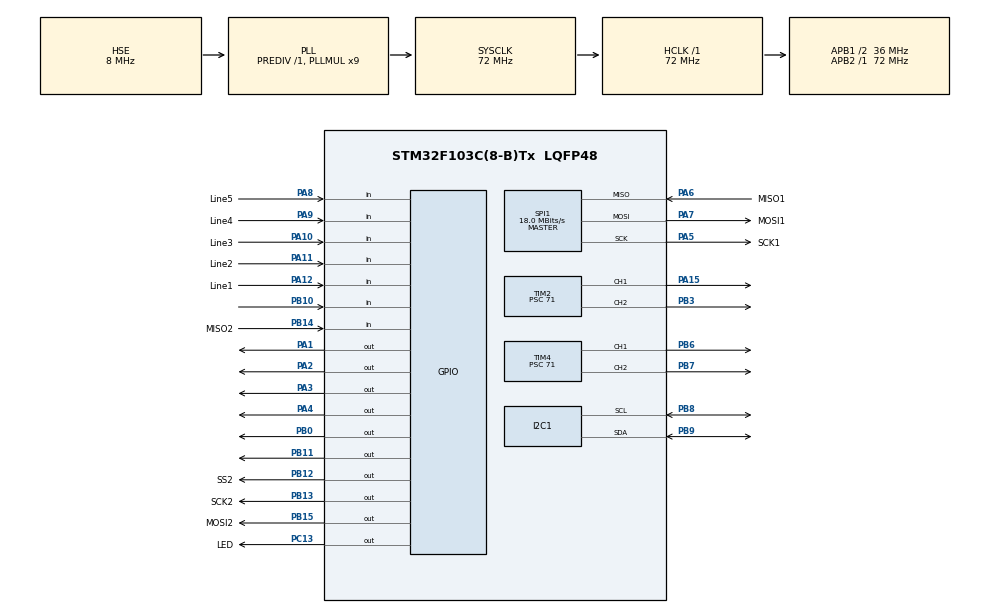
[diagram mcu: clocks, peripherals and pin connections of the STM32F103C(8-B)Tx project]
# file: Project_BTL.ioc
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Mcu.Family=STM32F1
Mcu.Name=STM32F103C(8-B)Tx
Mcu.Package=LQFP48
NVIC.PriorityGroup=NVIC_PRIORITYGROUP_4
PA1.Signal=GPIO_Output
PA10.GPIO_Label=Line3
PA10.Signal=GPIO_Input
PA11.GPIO_Label=Line2
PA11.Signal=GPIO_Input
PA12.GPIO_Label=Line1
PA12.Signal=GPIO_Input
PA13.Mode=Serial_Wire
PA13.Signal=SYS_JTMS-SWDIO
PA14.Mode=Serial_Wire
PA14.Signal=SYS_JTCK-SWCLK
PA15.Signal=S_TIM2_CH1_ETR
PA2.Signal=GPIO_Output
PA3.Signal=GPIO_Output
PA4.Signal=GPIO_Output
PA5.GPIO_Label=SCK1
PA5.Mode=Full_Duplex_Master
PA5.Signal=SPI1_SCK
PA6.GPIO_Label=MISO1
PA6.Mode=Full_Duplex_Master
PA6.Signal=SPI1_MISO
PA7.GPIO_Label=MOSI1
PA7.Mode=Full_Duplex_Master
PA7.Signal=SPI1_MOSI
PA8.GPIO_Label=Line5
PA8.Signal=GPIO_Input
PA9.GPIO_Label=Line4
PA9.Signal=GPIO_Input
PB0.Signal=GPIO_Output
PB10.Signal=GPIO_Input
PB11.Signal=GPIO_Output
PB12.GPIO_Label=SS2
PB12.PinState=GPIO_PIN_SET
PB12.Signal=GPIO_Output
PB13.GPIO_Label=SCK2
PB13.PinState=GPIO_PIN_SET
PB13.Signal=GPIO_Output
PB14.GPIO_Label=MISO2
PB14.Signal=GPIO_Input
PB15.GPIO_Label=MOSI2
PB15.PinState=GPIO_PIN_SET
PB15.Signal=GPIO_Output
PB3.Signal=S_TIM2_CH2
PB6.Signal=S_TIM4_CH1
PB7.Signal=S_TIM4_CH2
PB8.Mode=I2C
PB8.Signal=I2C1_SCL
PB9.Mode=I2C
PB9.Signal=I2C1_SDA
PC13-TAMPER-RTC.GPIO_Label=LED
PC13-TAMPER-RTC.PinState=GPIO_PIN_SET
PC13-TAMPER-RTC.Signal=GPIO_Output
PD0-OSC_IN.Mode=HSE-External-Oscillator
PD0-OSC_IN.Signal=RCC_OSC_IN
PD1-OSC_OUT.Mode=HSE-External-Oscillator
PD1-OSC_OUT.Signal=RCC_OSC_OUT
ProjectManager.HeapSize=0x200
ProjectManager.StackSize=0x400
ProjectManager.TargetToolchain=MDK-ARM V5
RCC.AHBFreq_Value=72000000
RCC.APB1CLKDivider=RCC_HCLK_DIV2
RCC.APB1Freq_Value=36000000
RCC.APB1TimFreq_Value=72000000
RCC.APB2Freq_Value=72000000
RCC.APB2TimFreq_Value=72000000
RCC.HCLKFreq_Value=72000000
RCC.PLLMUL=RCC_PLL_MUL9
RCC.PLLSourceVirtual=RCC_PLLSOURCE_HSE
RCC.SYSCLKFreq_VALUE=72000000
RCC.SYSCLKSource=RCC_SYSCLKSOURCE_PLLCLK
RCC.USBFreq_Value=72000000
SH.S_TIM2_CH1_ETR.0=TIM2_CH1,PWM Generation1 CH1
SH.S_TIM2_CH2.0=TIM2_CH2,PWM Generation2 CH2
SH.S_TIM4_CH1.0=TIM4_CH1,PWM Generation1 CH1
SH.S_TIM4_CH2.0=TIM4_CH2,PWM Generation2 CH2
SPI1.BaudRatePrescaler=SPI_BAUDRATEPRESCALER_4
SPI1.CalculateBaudRate=18.0 MBits/s
SPI1.Direction=SPI_DIRECTION_2LINES
SPI1.Mode=SPI_MODE_MASTER
SPI1.VirtualType=VM_MASTER
TIM1.Period=999
TIM1.Prescaler=71
TIM2.Channel-PWM\ Generation1\ CH1=TIM_CHANNEL_1
TIM2.Channel-PWM\ Generation2\ CH2=TIM_CHANNEL_2
TIM2.Period=999
TIM2.Prescaler=71
TIM2.Pulse-PWM\ Generation1\ CH1=0
TIM2.Pulse-PWM\ Generation2\ CH2=0
TIM3.Period=999
TIM3.Prescaler=71
TIM4.Channel-PWM\ Generation1\ CH1=TIM_CHANNEL_1
TIM4.Channel-PWM\ Generation2\ CH2=TIM_CHANNEL_2
TIM4.Period=999
TIM4.Prescaler=71
TIM4.Pulse-PWM\ Generation1\ CH1=0
TIM4.Pulse-PWM\ Generation2\ CH2=0
VP_TIM1_VS_ClockSourceINT.Mode=Internal
VP_TIM2_VS_ClockSourceINT.Mode=Internal
VP_TIM3_VS_ClockSourceINT.Mode=Internal
VP_TIM4_VS_ClockSourceINT.Mode=Internal
board=custom

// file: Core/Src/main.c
/* USER CODE BEGIN Header */
/**
  ******************************************************************************
  * @file           : main.c
  * @brief          : Main program body
  ******************************************************************************
  * @attention
  *
  * Copyright (c) 2022 STMicroelectronics.
  * All rights reserved.
  *
  * This software is licensed under terms that can be found in the LICENSE file
  * in the root directory of this software component.
  * If no LICENSE file comes with this software, it is provided AS-IS.
  *
  ******************************************************************************
  */
/* USER CODE END Header */
#include "main.h"
#include "i2c-lcd.h"
#include "PS2/PS2.h"
#include "rc522.h"
#include <stdio.h>
/* USER CODE BEGIN Includes */
/*---------------------- Khai Bao RC522 ----------------------*/
uint8_t CardID[5];
uint8_t MyID[5] = {0x7A, 0x92, 0xB4, 0x01, 0x5D};
uint8_t ZoneA[5] = {0x7A, 0x92, 0xB4, 0x01, 0x5D};
uint8_t ZoneB[5] = {0x7A, 0x92, 0xB4, 0x01, 0x5D};
char szBuff[100];
uint8_t Status=0;
int mode=0;
/*----------------------- Khai Bao PS2 -----------------------*/
PS2Buttons PS2;

/*----------------------- Khai Bao PID -----------------------*/
int read = 0x00000000;
int position;
int actives = 0;

float Kp = 0.002; //set up the constants value
float Ki = 0.001;
float Kd = 10;
float Kr = 0;

int P, I, D, R;
int lastError = 0;
int errors[10] = {0,0,0,0,0,0,0,0,0,0};
int error_sum = 0;
int last_end = 0;	// 0 -> Left, 1 -> Right
int last_idle = 0;

const uint8_t maxspeedr = 50;
const uint8_t maxspeedl = 50;
const uint8_t basespeedr = 30;
const uint8_t basespeedl = 30;
const int ARR = 10;

#define TRIG_PIN GPIO_PIN_11
#define TRIG_PORT GPIOA
#define ECHO_PIN GPIO_PIN_10
#define ECHO_PORT GPIOA
uint32_t pMillis;
uint32_t Value1 = 0;
uint32_t Value2 = 0;
uint16_t Distance  = 0;  // cm
/* USER CODE END Includes */

I2C_HandleTypeDef hi2c1;

SPI_HandleTypeDef hspi1;

TIM_HandleTypeDef htim1;
TIM_HandleTypeDef htim2;
TIM_HandleTypeDef htim3;
TIM_HandleTypeDef htim4;

/* USER CODE BEGIN PV */
uint8_t u8_Status;
/* USER CODE END PV */

void SystemClock_Config(void);
static void MX_GPIO_Init(void);
static void MX_TIM1_Init(void);
static void MX_TIM3_Init(void);
static void MX_TIM4_Init(void);
static void MX_I2C1_Init(void);
static void MX_SPI1_Init(void);
static void MX_TIM2_Init(void);

/* USER CODE BEGIN 0 */
/* ------------------------------Delay us------------------------------ */
void delay(uint16_t us)
{
	__HAL_TIM_SET_COUNTER(&htim1,0);  // set the counter value a 0
	while (__HAL_TIM_GET_COUNTER(&htim1) < us);  // wait for the counter to reach the us input in the parameter
}
/*-------------------------------    PID   -----------------------------*/

void motor_control(double pos_left, double pos_right)
{
	if (pos_left < 0 )
	{
		__HAL_TIM_SET_COMPARE (&htim2, TIM_CHANNEL_1, ARR*0);
		__HAL_TIM_SET_COMPARE (&htim2, TIM_CHANNEL_2, ARR*(-pos_left));
	}
	else if(pos_left > 0)
	{
		__HAL_TIM_SET_COMPARE (&htim2, TIM_CHANNEL_1, ARR*pos_left);
		__HAL_TIM_SET_COMPARE (&htim2, TIM_CHANNEL_2, ARR*0);
	}
	else if (pos_left == 0)
	{
		__HAL_TIM_SET_COMPARE (&htim2, TIM_CHANNEL_1, ARR*0);
		__HAL_TIM_SET_COMPARE (&htim2, TIM_CHANNEL_2, ARR*0);
	}
	if (pos_right < 0 )
	{
		__HAL_TIM_SET_COMPARE (&htim4, TIM_CHANNEL_1, ARR*0);
		__HAL_TIM_SET_COMPARE (&htim4, TIM_CHANNEL_2, ARR*(-pos_right));
	}
	else if (pos_right > 0 )
	{
		__HAL_TIM_SET_COMPARE (&htim4, TIM_CHANNEL_1, ARR*pos_right);
		__HAL_TIM_SET_COMPARE (&htim4, TIM_CHANNEL_2, ARR*0);
	}
	else if (pos_right == 0 )
	{
		__HAL_TIM_SET_COMPARE (&htim4, TIM_CHANNEL_1, ARR*0);
		__HAL_TIM_SET_COMPARE (&htim4, TIM_CHANNEL_2, ARR*0);
	}
}

uint8_t CamBien(void){
		HAL_GPIO_WritePin(TRIG_PORT, TRIG_PIN, GPIO_PIN_SET);  // pull the TRIG pin HIGH
    __HAL_TIM_SET_COUNTER(&htim1, 0);
    while (__HAL_TIM_GET_COUNTER (&htim1) < 10);  // wait for 10 us
    HAL_GPIO_WritePin(TRIG_PORT, TRIG_PIN, GPIO_PIN_RESET);  // pull the TRIG pin low

    pMillis = HAL_GetTick(); // used this to avoid infinite while loop  (for timeout)
    // wait for the echo pin to go high
    while (!(HAL_GPIO_ReadPin (ECHO_PORT, ECHO_PIN)) && pMillis + 10 >  HAL_GetTick());
    Value1 = __HAL_TIM_GET_COUNTER (&htim1);

    pMillis = HAL_GetTick(); // used this to avoid infinite while loop (for timeout)
    // wait for the echo pin to go low
    while ((HAL_GPIO_ReadPin (ECHO_PORT, ECHO_PIN)) && pMillis + 50 > HAL_GetTick());
    Value2 = __HAL_TIM_GET_COUNTER (&htim1);

    Distance = (Value2-Value1)* 0.034/2;
		return Distance;
}

uint16_t Read_Line(void){
	if (HAL_GPIO_ReadPin(Line1_GPIO_Port, Line1_Pin)==0){
			read |= 0x00000001;
	}
	else read &= 0x11111110;
	if (HAL_GPIO_ReadPin(Line2_GPIO_Port, Line2_Pin)==0){
			read |= 0x00000010;
		}
	else read &= 0x11111101;
	if (HAL_GPIO_ReadPin(Line3_GPIO_Port, Line3_Pin)==0){
			read |= 0x00000100;
		}
	else read &= 0x11111011;
	if (HAL_GPIO_ReadPin(Line4_GPIO_Port, Line4_Pin)==0){
			read |= 0x00001000;
		}
	else read &= 0x11110111;
	if (HAL_GPIO_ReadPin(Line5_GPIO_Port, Line5_Pin)==0){
			read |= 0x00010000;
		}
	else read &= 0x11101111;
	return read;
	HAL_Delay(20);
}
int value_line(){
	//Read_Line();
	int pos = 0;
  int active = 0;
	switch(read){
		case 0x00000001:
		{
			pos += 1000;
			active++;
			last_end = 1;
		}
		break;
		case 0x00000011:
		{
			pos += 2000;
			active++;
		}
		break;
		case 0x00000010:
		{
			pos += 3000;
			active++;
		}
		break;
		case 0x00000110:
		{
			pos += 4000;
			active++;
		}
		break;
		case 0x00000100:
		{
			pos += 5000;
			active++;
		}
		break;
		case 0x00001100:
		{
			pos += 6000;
			active++;
		}
		break;
		case 0x00001000:
		{
			pos += 7000;
			active++;
		}
		break;
		case 0x00011000:
		{
			pos += 8000;
			active++;
		}
		break;
		case 0x00010000:
		{
			pos += 9000;
			active++;
			last_end=0;
		}
		break;
	}

  actives = active;
	position = pos/active;

	if (actives == 0)
		last_idle++;
	else
		last_idle = 0;
	return pos/active;
}

void sharp_turn () {
	if (last_idle < 25)
	{
		if (last_end == 1)
			motor_control(-40, 80);
		else
			motor_control(80, -40);
	}
	else
	{
		if (last_end == 1)
			motor_control(-40, 60);
		else
			motor_control(60, -40);
	}
}
void motor_balance(double x, double y){
	if (y < 100){
				if (y > 0){
					motor_control(x,y-10);
				}
				else if (y < 0){
					motor_control(x,y+10);
				}
				else if (y == 0){
					motor_control(x,0);
				}
				else if (x==0 && y==0){
					motor_control(0,0);
				}
	}
	else if (y == 100){
		motor_control(x,100);
	}
}
void forward_brake(int pos_right, int pos_left)
{
	if (actives == 0)
		sharp_turn();
	else
	  motor_balance(pos_right, pos_left);
}

void past_errors (int error)
{
  for (int i = 9; i > 0; i--)
      errors[i] = errors[i-1];
  errors[0] = error;
}

int errors_sum (int index, int abs)
{
  int sum = 0;
  for (int i = 0; i < index; i++)
  {
    if (abs == 1 & errors[i] < 0)
      sum += -errors[i];
    else
      sum += errors[i];
  }
  return sum;
}

void PID_control() {
	uint16_t position = value_line();
  int error = 5000 - position;
	past_errors(error);

  P = error;
  I = errors_sum(5, 0);
  D = error - lastError;
  R = errors_sum(5, 1);
  lastError = error;

  int motorspeed = P*Kp + I*Ki + D*Kd;

  int motorspeedl = basespeedl + motorspeed - R*Kr;
  int motorspeedr = basespeedr - motorspeed - R*Kr;

  if (motorspeedl > maxspeedl)
    motorspeedl = maxspeedl;
  if (motorspeedr > maxspeedr)
    motorspeedr = maxspeedr;

	forward_brake(motorspeedr, motorspeedl);
}
/*----------------------------------------------------------------------------*/
void LCD(void){
	lcd_init();
	lcd_clear();
	lcd_put_cur(0,0);
	lcd_send_string("BAI TAP LON");

	//Chay chu
	char DuLieu[]={"                 FORKLIFT - XE NANG HANG TU HANH "};
	char HienThi[100];
	unsigned char i,j;
	for(j=1;j <= strlen(DuLieu)-16;j++)
	{
		for(i=1;i<=16;i++)
		{
			lcd_put_cur(1,i);
			printf(HienThi,"%c",DuLieu[i+j-1]);
			lcd_send_string(HienThi);
		}
		HAL_Delay(100);
	}
}

/*-----------------------------------STEPMOTOR--------------------------------*/
#define stepsperrev 4096
void stepper_set_rpm (int rpm)  // Set rpm--> max 13, min 1,,,  went to 14 rev/min
{
	delay(60000000/stepsperrev/rpm);
}
void stepper_half_drive (int step)
{
	switch (step){
		case 0:
			  HAL_GPIO_WritePin(GPIOA, GPIO_PIN_1, GPIO_PIN_SET);   // IN1
			  HAL_GPIO_WritePin(GPIOA, GPIO_PIN_2, GPIO_PIN_RESET);   // IN2
			  HAL_GPIO_WritePin(GPIOA, GPIO_PIN_3, GPIO_PIN_RESET);   // IN3
			  HAL_GPIO_WritePin(GPIOA, GPIO_PIN_4, GPIO_PIN_RESET);   // IN4
			  break;

		case 1:
			  HAL_GPIO_WritePin(GPIOA, GPIO_PIN_1, GPIO_PIN_SET);   // IN1
			  HAL_GPIO_WritePin(GPIOA, GPIO_PIN_2, GPIO_PIN_SET);   // IN2
			  HAL_GPIO_WritePin(GPIOA, GPIO_PIN_3, GPIO_PIN_RESET);   // IN3
			  HAL_GPIO_WritePin(GPIOA, GPIO_PIN_4, GPIO_PIN_RESET);   // IN4
			  break;

		case 2:
			  HAL_GPIO_WritePin(GPIOA, GPIO_PIN_1, GPIO_PIN_RESET);   // IN1
			  HAL_GPIO_WritePin(GPIOA, GPIO_PIN_2, GPIO_PIN_SET);   // IN2
			  HAL_GPIO_WritePin(GPIOA, GPIO_PIN_3, GPIO_PIN_RESET);   // IN3
			  HAL_GPIO_WritePin(GPIOA, GPIO_PIN_4, GPIO_PIN_RESET);   // IN4
			  break;

		case 3:
			  HAL_GPIO_WritePin(GPIOA, GPIO_PIN_1, GPIO_PIN_RESET);   // IN1
			  HAL_GPIO_WritePin(GPIOA, GPIO_PIN_2, GPIO_PIN_SET);   // IN2
			  HAL_GPIO_WritePin(GPIOA, GPIO_PIN_3, GPIO_PIN_SET);   // IN3
			  HAL_GPIO_WritePin(GPIOA, GPIO_PIN_4, GPIO_PIN_RESET);   // IN4
			  break;

		case 4:
			  HAL_GPIO_WritePin(GPIOA, GPIO_PIN_1, GPIO_PIN_RESET);   // IN1
			  HAL_GPIO_WritePin(GPIOA, GPIO_PIN_2, GPIO_PIN_RESET);   // IN2
			  HAL_GPIO_WritePin(GPIOA, GPIO_PIN_3, GPIO_PIN_SET);   // IN3
			  HAL_GPIO_WritePin(GPIOA, GPIO_PIN_4, GPIO_PIN_RESET);   // IN4
			  break;

		case 5:
			  HAL_GPIO_WritePin(GPIOA, GPIO_PIN_1, GPIO_PIN_RESET);   // IN1
			  HAL_GPIO_WritePin(GPIOA, GPIO_PIN_2, GPIO_PIN_RESET);   // IN2
			  HAL_GPIO_WritePin(GPIOA, GPIO_PIN_3, GPIO_PIN_SET);   // IN3
			  HAL_GPIO_WritePin(GPIOA, GPIO_PIN_4, GPIO_PIN_SET);   // IN4
			  break;

		case 6:
			  HAL_GPIO_WritePin(GPIOA, GPIO_PIN_1, GPIO_PIN_RESET);   // IN1
			  HAL_GPIO_WritePin(GPIOA, GPIO_PIN_2, GPIO_PIN_RESET);   // IN2
			  HAL_GPIO_WritePin(GPIOA, GPIO_PIN_3, GPIO_PIN_RESET);   // IN3
			  HAL_GPIO_WritePin(GPIOA, GPIO_PIN_4, GPIO_PIN_SET);   // IN4
			  break;

		case 7:
			  HAL_GPIO_WritePin(GPIOA, GPIO_PIN_1, GPIO_PIN_SET);   // IN1
			  HAL_GPIO_WritePin(GPIOA, GPIO_PIN_2, GPIO_PIN_RESET);   // IN2
			  HAL_GPIO_WritePin(GPIOA, GPIO_PIN_3, GPIO_PIN_RESET);   // IN3
			  HAL_GPIO_WritePin(GPIOA, GPIO_PIN_4, GPIO_PIN_SET);   // IN4
			  break;
		}
}
void SM_UP(int x){ // Stepmotor up
	for(int i=0; i<512;i++){
		for(int j=0; j<8;j++){
			stepper_half_drive(j);
			stepper_set_rpm(x);
		}
	}
}
void SM_DOWN(int x){ // Stepmotor down
	for(int i=0; i<512;i++){
		for(int j=7; j>=0;j--){
			stepper_half_drive(j);
			stepper_set_rpm(x);
		}
	}
}

/*----------------------------------RC522-------------------------------*/
void RFID(){
	if (TM_MFRC522_Check(CardID) == MI_OK) {
			sprintf(szBuff, "ID: 0x%02X%02X%02X%02X%02X", CardID[0], CardID[1], CardID[2], CardID[3], CardID[4]);
			lcd_clear();
			lcd_put_cur(0,1);
			lcd_send_string("STM32 - MFRC522");
			lcd_put_cur(1,0);
			lcd_send_string(szBuff);
			HAL_GPIO_WritePin(GPIOA,GPIO_PIN_5,GPIO_PIN_SET);
			HAL_Delay(2000);
			HAL_GPIO_WritePin(GPIOA,GPIO_PIN_5,GPIO_PIN_RESET);
	}
}
void RFID_A(){
	lcd_put_cur(0,0);
	lcd_send_string("HAY QUET THE!");
	if (TM_MFRC522_Check(CardID) == MI_OK){
	lcd_clear();
	if (TM_MFRC522_Compare(CardID,MyID) == MI_OK) {
			sprintf(szBuff, "ID: 0x%02X%02X%02X%02X%02X", CardID[0], CardID[1], CardID[2], CardID[3], CardID[4]);
			lcd_put_cur(0,0);
			lcd_send_string("Xin chao Tuan!");
			lcd_put_cur(1,0);
			lcd_send_string(szBuff);
			HAL_GPIO_WritePin(GPIOA,GPIO_PIN_5,GPIO_PIN_SET);
			HAL_Delay(2000);
			HAL_GPIO_WritePin(GPIOA,GPIO_PIN_5,GPIO_PIN_RESET);
			lcd_clear();
	}
	else{
		lcd_put_cur(0,0);
		lcd_send_string("THE KHONG PHU HOP!");
		lcd_put_cur(1,0);
		lcd_send_string("VUI LONG THU LAI ...");
		HAL_Delay(2000);
		lcd_clear();
	}
}
}
/*------------------------------ZONE------------------------------------*/
void ZONE(int *z){
	Read_Line();
	int a=0;
	if (read == 0x00011111){
		a++;
		motor_balance(0,0);
		HAL_Delay(100);
		if (a == *z){
			motor_balance(80,80);
			HAL_Delay(1000);
			SM_DOWN(13);
			motor_balance(-80,-80);
			HAL_Delay(1000);
			SM_UP(13);
			*z=0;
		}
		else if (a != *z){
			motor_balance(60,60);
			HAL_Delay(500);
		}
	}
}
/*----------------------------------------------------------------------*/
/* USER CODE END 0 */
int main(void)
{

  /* MCU Configuration--------------------------------------------------------*/

  /* Reset of all peripherals, Initializes the Flash interface and the Systick. */
  HAL_Init();

  /* Configure the system clock */
  SystemClock_Config();

  /* Initialize all configured peripherals */
  MX_GPIO_Init();
  MX_TIM1_Init();
  MX_TIM3_Init();
  MX_TIM4_Init();
  MX_I2C1_Init();
  MX_SPI1_Init();
  MX_TIM2_Init();
  /* USER CODE BEGIN 2 */
	TM_MFRC522_Init();
	PS2_Init(&htim1, &PS2);
	lcd_init();
	HAL_TIM_Base_Start(&htim1);
	HAL_TIM_PWM_Start(&htim2, TIM_CHANNEL_1);
	HAL_TIM_PWM_Start(&htim4, TIM_CHANNEL_1);
	HAL_TIM_PWM_Start(&htim2, TIM_CHANNEL_2);
	HAL_TIM_PWM_Start(&htim4, TIM_CHANNEL_2);
  /* USER CODE END 2 */
	HAL_GPIO_WritePin(LED_GPIO_Port, LED_Pin, 0);
  /* Infinite loop */
  while (1)
      {
			mode = 0;
			int z = 0;
			motor_balance(0,0);
			PS2_Update();
			if(PS2.START){
			/* Mode 1 */
				mode = 1;
				while(mode == 1){
				PS2_Update();
				HAL_GPIO_WritePin(LED_GPIO_Port, LED_Pin, 1);
				if (PS2.UP){
					HAL_GPIO_WritePin(LED_GPIO_Port, LED_Pin, 0);
					motor_balance(80,80);
					HAL_Delay(50);
				}
				else if(PS2.L1){HAL_GPIO_WritePin(LED_GPIO_Port, LED_Pin, 0);
					motor_balance(-50,50);
					HAL_Delay(50);
				}
				else if(PS2.R1){HAL_GPIO_WritePin(LED_GPIO_Port, LED_Pin, 0);
					motor_balance(50,-50);
					HAL_Delay(50);
				}
				else if(PS2.L2){HAL_GPIO_WritePin(LED_GPIO_Port, LED_Pin, 0);
					motor_balance(0,0);
					HAL_Delay(50);
				}
				else if(PS2.DOWN){
					HAL_GPIO_WritePin(LED_GPIO_Port, LED_Pin, 0);
					motor_balance(-60,-80);
					HAL_Delay(50);
				}
				else if(PS2.LEFT){
					HAL_GPIO_WritePin(LED_GPIO_Port, LED_Pin, 0);
					motor_balance(40,80);
					HAL_Delay(50);
				}
				else if(PS2.RIGHT){
					HAL_GPIO_WritePin(LED_GPIO_Port, LED_Pin, 0);
					motor_balance(80,40);
					HAL_Delay(50);
				}
				else if(PS2.TRIANGLE){
					HAL_GPIO_WritePin(LED_GPIO_Port, LED_Pin, 0);
					SM_UP(12);
					HAL_Delay(10);
				}
				else if(PS2.CROSS){
					HAL_GPIO_WritePin(LED_GPIO_Port, LED_Pin, 0);
					SM_DOWN(12);
					HAL_Delay(10);
				}
				else if(PS2.SELECT){
					HAL_GPIO_WritePin(LED_GPIO_Port, LED_Pin, 0);
					mode--;
					HAL_Delay(20);
				}
				else{
					motor_balance(0,0);
					HAL_Delay(50);
				}
				HAL_Delay(100);
			}
			}

			/* Mode 2 */

			else if(PS2.SELECT){
				mode =2;
				while(mode ==2){
				PS2_Update();
				Read_Line();
				HAL_GPIO_WritePin(LED_GPIO_Port, LED_Pin, 1);
				if (read == 0x00011111){
					CamBien();
					if (Distance < 10){
						SM_DOWN(13);
						motor_balance(30,30);
						if (TM_MFRC522_Check(CardID) == MI_OK){
							motor_balance(0,0);
							HAL_Delay(50);
							SM_UP(13);
							/*---------------------------------------------------*/
							if (TM_MFRC522_Compare(CardID,ZoneA) == MI_OK) {
								z=1;
								while(z==1){
								PID_control();
								HAL_Delay(5);
								ZONE(&z);
								}
							}
							else if (TM_MFRC522_Compare(CardID,ZoneB) == MI_OK) {
								z=2;
								while(z==2){
								PID_control();
								HAL_Delay(5);
								ZONE(&z);
								}
							}
							/*---------------------------------------------------*/
						}
					}
					else if(Distance > 10){
						motor_balance(0,0);
						HAL_Delay(50);
					}
				}
				else if(PS2.START){
					HAL_GPIO_WritePin(LED_GPIO_Port, LED_Pin, 0);
					mode=mode-2;
					HAL_Delay(20);
				}
				PID_control();
				HAL_Delay(10);
			}
			}
			HAL_Delay(100);
      }
}

void SystemClock_Config(void)
{
  RCC_OscInitTypeDef RCC_OscInitStruct = {0};
  RCC_ClkInitTypeDef RCC_ClkInitStruct = {0};

  /** Initializes the RCC Oscillators according to the specified parameters
  * in the RCC_OscInitTypeDef structure.
  */
  RCC_OscInitStruct.OscillatorType = RCC_OSCILLATORTYPE_HSE;
  RCC_OscInitStruct.HSEState = RCC_HSE_ON;
  RCC_OscInitStruct.HSEPredivValue = RCC_HSE_PREDIV_DIV1;
  RCC_OscInitStruct.HSIState = RCC_HSI_ON;
  RCC_OscInitStruct.PLL.PLLState = RCC_PLL_ON;
  RCC_OscInitStruct.PLL.PLLSource = RCC_PLLSOURCE_HSE;
  RCC_OscInitStruct.PLL.PLLMUL = RCC_PLL_MUL9;
  if (HAL_RCC_OscConfig(&RCC_OscInitStruct) != HAL_OK)
  {
    Error_Handler();
  }

  /** Initializes the CPU, AHB and APB buses clocks
  */
  RCC_ClkInitStruct.ClockType = RCC_CLOCKTYPE_HCLK|RCC_CLOCKTYPE_SYSCLK
                              |RCC_CLOCKTYPE_PCLK1|RCC_CLOCKTYPE_PCLK2;
  RCC_ClkInitStruct.SYSCLKSource = RCC_SYSCLKSOURCE_PLLCLK;
  RCC_ClkInitStruct.AHBCLKDivider = RCC_SYSCLK_DIV1;
  RCC_ClkInitStruct.APB1CLKDivider = RCC_HCLK_DIV2;
  RCC_ClkInitStruct.APB2CLKDivider = RCC_HCLK_DIV1;

  if (HAL_RCC_ClockConfig(&RCC_ClkInitStruct, FLASH_LATENCY_2) != HAL_OK)
  {
    Error_Handler();
  }
}

static void MX_I2C1_Init(void)
{

  hi2c1.Instance = I2C1;
  hi2c1.Init.ClockSpeed = 100000;
  hi2c1.Init.DutyCycle = I2C_DUTYCYCLE_2;
  hi2c1.Init.OwnAddress1 = 0;
  hi2c1.Init.AddressingMode = I2C_ADDRESSINGMODE_7BIT;
  hi2c1.Init.DualAddressMode = I2C_DUALADDRESS_DISABLE;
  hi2c1.Init.OwnAddress2 = 0;
  hi2c1.Init.GeneralCallMode = I2C_GENERALCALL_DISABLE;
  hi2c1.Init.NoStretchMode = I2C_NOSTRETCH_DISABLE;
  if (HAL_I2C_Init(&hi2c1) != HAL_OK)
  {
    Error_Handler();
  }

}

static void MX_SPI1_Init(void)
{

  /* SPI1 parameter configuration*/
  hspi1.Instance = SPI1;
  hspi1.Init.Mode = SPI_MODE_MASTER;
  hspi1.Init.Direction = SPI_DIRECTION_2LINES;
  hspi1.Init.DataSize = SPI_DATASIZE_8BIT;
  hspi1.Init.CLKPolarity = SPI_POLARITY_LOW;
  hspi1.Init.CLKPhase = SPI_PHASE_1EDGE;
  hspi1.Init.NSS = SPI_NSS_SOFT;
  hspi1.Init.BaudRatePrescaler = SPI_BAUDRATEPRESCALER_4;
  hspi1.Init.FirstBit = SPI_FIRSTBIT_MSB;
  hspi1.Init.TIMode = SPI_TIMODE_DISABLE;
  hspi1.Init.CRCCalculation = SPI_CRCCALCULATION_DISABLE;
  hspi1.Init.CRCPolynomial = 10;
  if (HAL_SPI_Init(&hspi1) != HAL_OK)
  {
    Error_Handler();
  }

}

static void MX_TIM1_Init(void)
{

  TIM_ClockConfigTypeDef sClockSourceConfig = {0};
  TIM_MasterConfigTypeDef sMasterConfig = {0};

  htim1.Instance = TIM1;
  htim1.Init.Prescaler = 71;
  htim1.Init.CounterMode = TIM_COUNTERMODE_UP;
  htim1.Init.Period = 999;
  htim1.Init.ClockDivision = TIM_CLOCKDIVISION_DIV1;
  htim1.Init.RepetitionCounter = 0;
  htim1.Init.AutoReloadPreload = TIM_AUTORELOAD_PRELOAD_DISABLE;
  if (HAL_TIM_Base_Init(&htim1) != HAL_OK)
  {
    Error_Handler();
  }
  sClockSourceConfig.ClockSource = TIM_CLOCKSOURCE_INTERNAL;
  if (HAL_TIM_ConfigClockSource(&htim1, &sClockSourceConfig) != HAL_OK)
  {
    Error_Handler();
  }
  sMasterConfig.MasterOutputTrigger = TIM_TRGO_RESET;
  sMasterConfig.MasterSlaveMode = TIM_MASTERSLAVEMODE_DISABLE;
  if (HAL_TIMEx_MasterConfigSynchronization(&htim1, &sMasterConfig) != HAL_OK)
  {
    Error_Handler();
  }

}

static void MX_TIM2_Init(void)
{

  TIM_ClockConfigTypeDef sClockSourceConfig = {0};
  TIM_MasterConfigTypeDef sMasterConfig = {0};
  TIM_OC_InitTypeDef sConfigOC = {0};

  htim2.Instance = TIM2;
  htim2.Init.Prescaler = 71;
  htim2.Init.CounterMode = TIM_COUNTERMODE_UP;
  htim2.Init.Period = 999;
  htim2.Init.ClockDivision = TIM_CLOCKDIVISION_DIV1;
  htim2.Init.AutoReloadPreload = TIM_AUTORELOAD_PRELOAD_DISABLE;
  if (HAL_TIM_Base_Init(&htim2) != HAL_OK)
  {
    Error_Handler();
  }
  sClockSourceConfig.ClockSource = TIM_CLOCKSOURCE_INTERNAL;
  if (HAL_TIM_ConfigClockSource(&htim2, &sClockSourceConfig) != HAL_OK)
  {
    Error_Handler();
  }
  if (HAL_TIM_PWM_Init(&htim2) != HAL_OK)
  {
    Error_Handler();
  }
  sMasterConfig.MasterOutputTrigger = TIM_TRGO_RESET;
  sMasterConfig.MasterSlaveMode = TIM_MASTERSLAVEMODE_DISABLE;
  if (HAL_TIMEx_MasterConfigSynchronization(&htim2, &sMasterConfig) != HAL_OK)
  {
    Error_Handler();
  }
  sConfigOC.OCMode = TIM_OCMODE_PWM1;
  sConfigOC.Pulse = 0;
  sConfigOC.OCPolarity = TIM_OCPOLARITY_HIGH;
  sConfigOC.OCFastMode = TIM_OCFAST_DISABLE;
  if (HAL_TIM_PWM_ConfigChannel(&htim2, &sConfigOC, TIM_CHANNEL_1) != HAL_OK)
  {
    Error_Handler();
  }
  if (HAL_TIM_PWM_ConfigChannel(&htim2, &sConfigOC, TIM_CHANNEL_2) != HAL_OK)
  {
    Error_Handler();
  }
  HAL_TIM_MspPostInit(&htim2);

}

static void MX_TIM3_Init(void)
{

  TIM_ClockConfigTypeDef sClockSourceConfig = {0};
  TIM_MasterConfigTypeDef sMasterConfig = {0};

  htim3.Instance = TIM3;
  htim3.Init.Prescaler = 71;
  htim3.Init.CounterMode = TIM_COUNTERMODE_UP;
  htim3.Init.Period = 999;
  htim3.Init.ClockDivision = TIM_CLOCKDIVISION_DIV1;
  htim3.Init.AutoReloadPreload = TIM_AUTORELOAD_PRELOAD_DISABLE;
  if (HAL_TIM_Base_Init(&htim3) != HAL_OK)
  {
    Error_Handler();
  }
  sClockSourceConfig.ClockSource = TIM_CLOCKSOURCE_INTERNAL;
  if (HAL_TIM_ConfigClockSource(&htim3, &sClockSourceConfig) != HAL_OK)
  {
    Error_Handler();
  }
  sMasterConfig.MasterOutputTrigger = TIM_TRGO_RESET;
  sMasterConfig.MasterSlaveMode = TIM_MASTERSLAVEMODE_DISABLE;
  if (HAL_TIMEx_MasterConfigSynchronization(&htim3, &sMasterConfig) != HAL_OK)
  {
    Error_Handler();
  }

}

static void MX_TIM4_Init(void)
{

  TIM_ClockConfigTypeDef sClockSourceConfig = {0};
  TIM_MasterConfigTypeDef sMasterConfig = {0};
  TIM_OC_InitTypeDef sConfigOC = {0};

  htim4.Instance = TIM4;
  htim4.Init.Prescaler = 71;
  htim4.Init.CounterMode = TIM_COUNTERMODE_UP;
  htim4.Init.Period = 999;
  htim4.Init.ClockDivision = TIM_CLOCKDIVISION_DIV1;
  htim4.Init.AutoReloadPreload = TIM_AUTORELOAD_PRELOAD_DISABLE;
  if (HAL_TIM_Base_Init(&htim4) != HAL_OK)
  {
    Error_Handler();
  }
  sClockSourceConfig.ClockSource = TIM_CLOCKSOURCE_INTERNAL;
  if (HAL_TIM_ConfigClockSource(&htim4, &sClockSourceConfig) != HAL_OK)
  {
    Error_Handler();
  }
  if (HAL_TIM_PWM_Init(&htim4) != HAL_OK)
  {
    Error_Handler();
  }
  sMasterConfig.MasterOutputTrigger = TIM_TRGO_RESET;
  sMasterConfig.MasterSlaveMode = TIM_MASTERSLAVEMODE_DISABLE;
  if (HAL_TIMEx_MasterConfigSynchronization(&htim4, &sMasterConfig) != HAL_OK)
  {
    Error_Handler();
  }
  sConfigOC.OCMode = TIM_OCMODE_PWM1;
  sConfigOC.Pulse = 0;
  sConfigOC.OCPolarity = TIM_OCPOLARITY_HIGH;
  sConfigOC.OCFastMode = TIM_OCFAST_DISABLE;
  if (HAL_TIM_PWM_ConfigChannel(&htim4, &sConfigOC, TIM_CHANNEL_1) != HAL_OK)
  {
    Error_Handler();
  }
  if (HAL_TIM_PWM_ConfigChannel(&htim4, &sConfigOC, TIM_CHANNEL_2) != HAL_OK)
  {
    Error_Handler();
  }
  HAL_TIM_MspPostInit(&htim4);

}

static void MX_GPIO_Init(void)
{
  GPIO_InitTypeDef GPIO_InitStruct = {0};

  /* GPIO Ports Clock Enable */
  __HAL_RCC_GPIOC_CLK_ENABLE();
  __HAL_RCC_GPIOD_CLK_ENABLE();
  __HAL_RCC_GPIOA_CLK_ENABLE();
  __HAL_RCC_GPIOB_CLK_ENABLE();

  /*Configure GPIO pin Output Level */
  HAL_GPIO_WritePin(LED_GPIO_Port, LED_Pin, GPIO_PIN_SET);

  /*Configure GPIO pin Output Level */
  HAL_GPIO_WritePin(GPIOA, GPIO_PIN_1|GPIO_PIN_2|GPIO_PIN_3|GPIO_PIN_4, GPIO_PIN_RESET);

  /*Configure GPIO pin Output Level */
  HAL_GPIO_WritePin(GPIOB, GPIO_PIN_0|GPIO_PIN_11, GPIO_PIN_RESET);

  /*Configure GPIO pin Output Level */
  HAL_GPIO_WritePin(GPIOB, SS2_Pin|SCK2_Pin|MOSI2_Pin, GPIO_PIN_SET);

  /*Configure GPIO pin : LED_Pin */
  GPIO_InitStruct.Pin = LED_Pin;
  GPIO_InitStruct.Mode = GPIO_MODE_OUTPUT_PP;
  GPIO_InitStruct.Pull = GPIO_NOPULL;
  GPIO_InitStruct.Speed = GPIO_SPEED_FREQ_LOW;
  HAL_GPIO_Init(LED_GPIO_Port, &GPIO_InitStruct);

  /*Configure GPIO pins : PA1 PA2 PA3 PA4 */
  GPIO_InitStruct.Pin = GPIO_PIN_1|GPIO_PIN_2|GPIO_PIN_3|GPIO_PIN_4;
  GPIO_InitStruct.Mode = GPIO_MODE_OUTPUT_PP;
  GPIO_InitStruct.Pull = GPIO_NOPULL;
  GPIO_InitStruct.Speed = GPIO_SPEED_FREQ_LOW;
  HAL_GPIO_Init(GPIOA, &GPIO_InitStruct);

  /*Configure GPIO pins : PB0 PB11 SS2_Pin SCK2_Pin
                           MOSI2_Pin */
  GPIO_InitStruct.Pin = GPIO_PIN_0|GPIO_PIN_11|SS2_Pin|SCK2_Pin
                          |MOSI2_Pin;
  GPIO_InitStruct.Mode = GPIO_MODE_OUTPUT_PP;
  GPIO_InitStruct.Pull = GPIO_NOPULL;
  GPIO_InitStruct.Speed = GPIO_SPEED_FREQ_LOW;
  HAL_GPIO_Init(GPIOB, &GPIO_InitStruct);

  /*Configure GPIO pins : PB10 MISO2_Pin */
  GPIO_InitStruct.Pin = GPIO_PIN_10|MISO2_Pin;
  GPIO_InitStruct.Mode = GPIO_MODE_INPUT;
  GPIO_InitStruct.Pull = GPIO_NOPULL;
  HAL_GPIO_Init(GPIOB, &GPIO_InitStruct);

  /*Configure GPIO pins : Line5_Pin Line4_Pin Line3_Pin Line2_Pin
                           Line1_Pin */
  GPIO_InitStruct.Pin = Line5_Pin|Line4_Pin|Line3_Pin|Line2_Pin
                          |Line1_Pin;
  GPIO_InitStruct.Mode = GPIO_MODE_INPUT;
  GPIO_InitStruct.Pull = GPIO_NOPULL;
  HAL_GPIO_Init(GPIOA, &GPIO_InitStruct);

}

void Error_Handler(void)
{
  __disable_irq();
  while (1)
  {
  }
}
